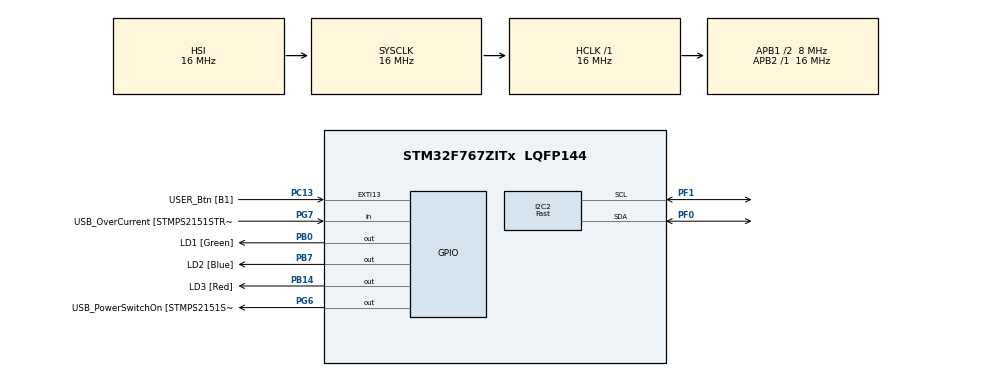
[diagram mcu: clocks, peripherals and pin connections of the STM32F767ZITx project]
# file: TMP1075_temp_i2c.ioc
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I2C2.I2C_Speed_Mode=I2C_Fast
I2C2.Timing=0x0000020B
Mcu.Family=STM32F7
Mcu.Name=STM32F767ZITx
Mcu.Package=LQFP144
NVIC.PriorityGroup=NVIC_PRIORITYGROUP_4
PA1.GPIO_Label=RMII_REF_CLK [LAN8742A-CZ-TR_REFCLK0]
PA1.Signal=ETH_REF_CLK
PA10.GPIO_Label=USB_ID
PA10.Signal=USB_OTG_FS_ID
PA11.GPIO_Label=USB_DM
PA11.Signal=USB_OTG_FS_DM
PA12.GPIO_Label=USB_DP
PA12.Signal=USB_OTG_FS_DP
PA13.GPIO_Label=TMS
PA13.Signal=SYS_JTMS-SWDIO
PA14.GPIO_Label=TCK
PA14.Signal=SYS_JTCK-SWCLK
PA2.GPIO_Label=RMII_MDIO [LAN8742A-CZ-TR_MDIO]
PA2.Signal=ETH_MDIO
PA7.GPIO_Label=RMII_CRS_DV [LAN8742A-CZ-TR_CRS_DV]
PA7.Signal=ETH_CRS_DV
PA8.GPIO_Label=USB_SOF [TP1]
PA8.Signal=USB_OTG_FS_SOF
PA9.GPIO_Label=USB_VBUS
PA9.Signal=USB_OTG_FS_VBUS
PB0.GPIO_Label=LD1 [Green]
PB0.Signal=GPIO_Output
PB13.GPIO_Label=RMII_TXD1 [LAN8742A-CZ-TR_TXD1]
PB13.Signal=ETH_TXD1
PB14.GPIO_Label=LD3 [Red]
PB14.Signal=GPIO_Output
PB3.GPIO_Label=SW0
PB3.Signal=SYS_JTDO-SWO
PB7.GPIO_Label=LD2 [Blue]
PB7.Signal=GPIO_Output
PC1.GPIO_Label=RMII_MDC [LAN8742A-CZ-TR_MDC]
PC1.Signal=ETH_MDC
PC13.GPIO_Label=USER_Btn [B1]
PC13.Signal=GPXTI13
PC14/OSC32_IN.Signal=RCC_OSC32_IN
PC15/OSC32_OUT.Signal=RCC_OSC32_OUT
PC4.GPIO_Label=RMII_RXD0 [LAN8742A-CZ-TR_RXD0]
PC4.Signal=ETH_RXD0
PC5.GPIO_Label=RMII_RXD1 [LAN8742A-CZ-TR_RXD1]
PC5.Signal=ETH_RXD1
PD8.GPIO_Label=STLK_RX [STM32F103CBT6_PA3]
PD8.Signal=USART3_TX
PD9.GPIO_Label=STLK_TX [STM32F103CBT6_PA2]
PD9.Signal=USART3_RX
PF0.Mode=I2C
PF0.Signal=I2C2_SDA
PF1.Mode=I2C
PF1.Signal=I2C2_SCL
PG11.GPIO_Label=RMII_TX_EN [LAN8742A-CZ-TR_TXEN]
PG11.Signal=ETH_TX_EN
PG13.GPIO_Label=RMII_TXD0 [LAN8742A-CZ-TR_TXD0]
PG13.Signal=ETH_TXD0
PG6.GPIO_Label=USB_PowerSwitchOn [STMPS2151STR_EN]
PG6.Signal=GPIO_Output
PG7.GPIO_Label=USB_OverCurrent [STMPS2151STR_FAULT]
PG7.Signal=GPIO_Input
PH0/OSC_IN.GPIO_Label=MCO [STM32F103CBT6_PA8]
PH0/OSC_IN.Signal=RCC_OSC_IN
PH1/OSC_OUT.Signal=RCC_OSC_OUT
ProjectManager.HeapSize=0x200
ProjectManager.StackSize=0x400
ProjectManager.TargetToolchain=STM32CubeIDE
RCC.48MHZClocksFreq_Value=24000000
RCC.AHBFreq_Value=16000000
RCC.APB1CLKDivider=RCC_HCLK_DIV2
RCC.APB1Freq_Value=8000000
RCC.APB1TimFreq_Value=16000000
RCC.APB2Freq_Value=16000000
RCC.APB2TimFreq_Value=16000000
RCC.CortexFreq_Value=16000000
RCC.HCLKFreq_Value=16000000
RCC.HSE_VALUE=16000000
RCC.HSI_VALUE=16000000
RCC.LSE_VALUE=32768
RCC.PLLMUL=RCC_PLL_MUL9
RCC.PRESCALERUSB=RCC_USBCLKSOURCE_PLL_DIV1_5
RCC.SYSCLKFreq_VALUE=16000000
RCC.SYSCLKSourceVirtual=RCC_SYSCLKSOURCE_PLLCLK
RCC.USBFreq_Value=96000000
RCC.VCOOutputFreq_Value=192000000
board=NUCLEO-F767ZI

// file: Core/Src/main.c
/* USER CODE BEGIN Header */
/**
 ******************************************************************************
 * @file           : main.c
 * @brief          : Main program body
 ******************************************************************************
 * @attention
 *
 * Copyright (c) 2025 STMicroelectronics.
 * All rights reserved.
 *
 * This software is licensed under terms that can be found in the LICENSE file
 * in the root directory of this software component.
 * If no LICENSE file comes with this software, it is provided AS-IS.
 *
 ******************************************************************************
 */
/* USER CODE END Header */
#include "main.h"

I2C_HandleTypeDef hi2c2;

void SystemClock_Config(void);
static void MX_GPIO_Init(void);
static void MX_I2C2_Init(void);

/* USER CODE BEGIN 0 */
float read_temp() {
	uint8_t read_data[2] = { 0 };
	//uint8_t read_data[2] = {0b01010000, 0b00000000}; // 80
	//uint8_t read_data[2] = {0b00000000, 0b01000000}; // .25
	//uint8_t read_data[2] = {0b11111111, 0b11110000}; // -.0625
	//uint8_t read_data[2] = {0b11001110, 0b00000000}; // -50

	float temp_celsius = 0;
	// 7.5.1.1 read temperature register (address 0)
	HAL_I2C_Mem_Read(&hi2c2, (72 << 1), 0, 1, read_data, 2, 1000);

	// last 4 bits (of last byte) are not used- disregard these and put first byte before it.
	uint32_t read_binary = read_data[1] >> 4 | read_data[0] << 4;
	// test if negative by reading MSB
	if (1 << 11 & read_binary) {
		//if negative, get two's complement
		temp_celsius = -((~((int32_t) read_binary - 1)) & 4095) * .0625;

	} else {
		//if positive, process normally
		temp_celsius = read_binary * .0625;

	}
	return temp_celsius;
}

void set_shutdown_mode() {
	// table 7-8
	uint8_t conf_register[2] = { 0 };
	// read current config register
	HAL_I2C_Mem_Read(&hi2c2, (72 << 1), 1, 1, conf_register, 2, 100);
	// write 1 to bit 0 of first register byte (bit 8 of the conf register)
	conf_register[0] |= (1);
	// write modified config to register
	HAL_I2C_Mem_Write(&hi2c2, (72 << 1), 1, 1, conf_register, 2, 100);
	// test to see if write was successful
	uint8_t read_test[2] = { 0 };
	HAL_I2C_Mem_Read(&hi2c2, (72 << 1), 1, 1, read_test, 2, 100);
}

void trigger_oneshot() {
	// table 7-8
	uint8_t conf_register[2] = { 0 };
	// read current config register
	HAL_I2C_Mem_Read(&hi2c2, (72 << 1), 1, 1, conf_register, 2, 100);
	// write 1 to bit 7 of first register byte (bit 15 of the config register)
	conf_register[0] |= (1 << 7);
	// write to config register
	HAL_I2C_Mem_Write(&hi2c2, (72 << 1), 1, 1, conf_register, 2, 100);

}
/* USER CODE END 0 */

int main(void) {

	/* MCU Configuration--------------------------------------------------------*/

	/* Reset of all peripherals, Initializes the Flash interface and the Systick. */
	HAL_Init();

	/* Configure the system clock */
	SystemClock_Config();

	/* Initialize all configured peripherals */
	MX_GPIO_Init();
	MX_I2C2_Init();
	/* USER CODE BEGIN 2 */
	//put in shutdown mode to reduce current by not continuously converting temperature
	set_shutdown_mode();

	/* USER CODE END 2 */

	/* Infinite loop */
	/* USER CODE BEGIN WHILE */

	while (1) {
		// while in shutdown mode, trigger one conversion
		trigger_oneshot();
		float temp_celsius = read_temp();
		HAL_Delay(500);

		/* USER CODE END WHILE */

	}
}

void SystemClock_Config(void) {
	RCC_OscInitTypeDef RCC_OscInitStruct = { 0 };
	RCC_ClkInitTypeDef RCC_ClkInitStruct = { 0 };

	/** Configure the main internal regulator output voltage
	 */
	__HAL_RCC_PWR_CLK_ENABLE();
	__HAL_PWR_VOLTAGESCALING_CONFIG(PWR_REGULATOR_VOLTAGE_SCALE3);

	/** Initializes the RCC Oscillators according to the specified parameters
	 * in the RCC_OscInitTypeDef structure.
	 */
	RCC_OscInitStruct.OscillatorType = RCC_OSCILLATORTYPE_HSI;
	RCC_OscInitStruct.HSIState = RCC_HSI_ON;
	RCC_OscInitStruct.HSICalibrationValue = RCC_HSICALIBRATION_DEFAULT;
	RCC_OscInitStruct.PLL.PLLState = RCC_PLL_NONE;
	if (HAL_RCC_OscConfig(&RCC_OscInitStruct) != HAL_OK) {
		Error_Handler();
	}

	/** Initializes the CPU, AHB and APB buses clocks
	 */
	RCC_ClkInitStruct.ClockType = RCC_CLOCKTYPE_HCLK | RCC_CLOCKTYPE_SYSCLK
			| RCC_CLOCKTYPE_PCLK1 | RCC_CLOCKTYPE_PCLK2;
	RCC_ClkInitStruct.SYSCLKSource = RCC_SYSCLKSOURCE_HSI;
	RCC_ClkInitStruct.AHBCLKDivider = RCC_SYSCLK_DIV1;
	RCC_ClkInitStruct.APB1CLKDivider = RCC_HCLK_DIV2;
	RCC_ClkInitStruct.APB2CLKDivider = RCC_HCLK_DIV1;

	if (HAL_RCC_ClockConfig(&RCC_ClkInitStruct, FLASH_LATENCY_0) != HAL_OK) {
		Error_Handler();
	}
}

static void MX_I2C2_Init(void) {

	hi2c2.Instance = I2C2;
	hi2c2.Init.Timing = 0x0000020B;
	hi2c2.Init.OwnAddress1 = 0;
	hi2c2.Init.AddressingMode = I2C_ADDRESSINGMODE_7BIT;
	hi2c2.Init.DualAddressMode = I2C_DUALADDRESS_DISABLE;
	hi2c2.Init.OwnAddress2 = 0;
	hi2c2.Init.OwnAddress2Masks = I2C_OA2_NOMASK;
	hi2c2.Init.GeneralCallMode = I2C_GENERALCALL_DISABLE;
	hi2c2.Init.NoStretchMode = I2C_NOSTRETCH_DISABLE;
	if (HAL_I2C_Init(&hi2c2) != HAL_OK) {
		Error_Handler();
	}

	/** Configure Analogue filter
	 */
	if (HAL_I2CEx_ConfigAnalogFilter(&hi2c2, I2C_ANALOGFILTER_ENABLE)
			!= HAL_OK) {
		Error_Handler();
	}

	/** Configure Digital filter
	 */
	if (HAL_I2CEx_ConfigDigitalFilter(&hi2c2, 0) != HAL_OK) {
		Error_Handler();
	}

}

static void MX_GPIO_Init(void) {
	GPIO_InitTypeDef GPIO_InitStruct = { 0 };

	/* GPIO Ports Clock Enable */
	__HAL_RCC_GPIOC_CLK_ENABLE();
	__HAL_RCC_GPIOF_CLK_ENABLE();
	__HAL_RCC_GPIOH_CLK_ENABLE();
	__HAL_RCC_GPIOA_CLK_ENABLE();
	__HAL_RCC_GPIOB_CLK_ENABLE();
	__HAL_RCC_GPIOD_CLK_ENABLE();
	__HAL_RCC_GPIOG_CLK_ENABLE();

	/*Configure GPIO pin Output Level */
	HAL_GPIO_WritePin(GPIOB, LD1_Pin | LD3_Pin | LD2_Pin, GPIO_PIN_RESET);

	/*Configure GPIO pin Output Level */
	HAL_GPIO_WritePin(USB_PowerSwitchOn_GPIO_Port, USB_PowerSwitchOn_Pin,
			GPIO_PIN_RESET);

	/*Configure GPIO pin : USER_Btn_Pin */
	GPIO_InitStruct.Pin = USER_Btn_Pin;
	GPIO_InitStruct.Mode = GPIO_MODE_IT_RISING;
	GPIO_InitStruct.Pull = GPIO_NOPULL;
	HAL_GPIO_Init(USER_Btn_GPIO_Port, &GPIO_InitStruct);

	/*Configure GPIO pins : RMII_MDC_Pin RMII_RXD0_Pin RMII_RXD1_Pin */
	GPIO_InitStruct.Pin = RMII_MDC_Pin | RMII_RXD0_Pin | RMII_RXD1_Pin;
	GPIO_InitStruct.Mode = GPIO_MODE_AF_PP;
	GPIO_InitStruct.Pull = GPIO_NOPULL;
	GPIO_InitStruct.Speed = GPIO_SPEED_FREQ_VERY_HIGH;
	GPIO_InitStruct.Alternate = GPIO_AF11_ETH;
	HAL_GPIO_Init(GPIOC, &GPIO_InitStruct);

	/*Configure GPIO pins : RMII_REF_CLK_Pin RMII_MDIO_Pin RMII_CRS_DV_Pin */
	GPIO_InitStruct.Pin = RMII_REF_CLK_Pin | RMII_MDIO_Pin | RMII_CRS_DV_Pin;
	GPIO_InitStruct.Mode = GPIO_MODE_AF_PP;
	GPIO_InitStruct.Pull = GPIO_NOPULL;
	GPIO_InitStruct.Speed = GPIO_SPEED_FREQ_VERY_HIGH;
	GPIO_InitStruct.Alternate = GPIO_AF11_ETH;
	HAL_GPIO_Init(GPIOA, &GPIO_InitStruct);

	/*Configure GPIO pins : LD1_Pin LD3_Pin LD2_Pin */
	GPIO_InitStruct.Pin = LD1_Pin | LD3_Pin | LD2_Pin;
	GPIO_InitStruct.Mode = GPIO_MODE_OUTPUT_PP;
	GPIO_InitStruct.Pull = GPIO_NOPULL;
	GPIO_InitStruct.Speed = GPIO_SPEED_FREQ_LOW;
	HAL_GPIO_Init(GPIOB, &GPIO_InitStruct);

	/*Configure GPIO pin : RMII_TXD1_Pin */
	GPIO_InitStruct.Pin = RMII_TXD1_Pin;
	GPIO_InitStruct.Mode = GPIO_MODE_AF_PP;
	GPIO_InitStruct.Pull = GPIO_NOPULL;
	GPIO_InitStruct.Speed = GPIO_SPEED_FREQ_VERY_HIGH;
	GPIO_InitStruct.Alternate = GPIO_AF11_ETH;
	HAL_GPIO_Init(RMII_TXD1_GPIO_Port, &GPIO_InitStruct);

	/*Configure GPIO pins : STLK_RX_Pin STLK_TX_Pin */
	GPIO_InitStruct.Pin = STLK_RX_Pin | STLK_TX_Pin;
	GPIO_InitStruct.Mode = GPIO_MODE_AF_PP;
	GPIO_InitStruct.Pull = GPIO_NOPULL;
	GPIO_InitStruct.Speed = GPIO_SPEED_FREQ_VERY_HIGH;
	GPIO_InitStruct.Alternate = GPIO_AF7_USART3;
	HAL_GPIO_Init(GPIOD, &GPIO_InitStruct);

	/*Configure GPIO pin : USB_PowerSwitchOn_Pin */
	GPIO_InitStruct.Pin = USB_PowerSwitchOn_Pin;
	GPIO_InitStruct.Mode = GPIO_MODE_OUTPUT_PP;
	GPIO_InitStruct.Pull = GPIO_NOPULL;
	GPIO_InitStruct.Speed = GPIO_SPEED_FREQ_LOW;
	HAL_GPIO_Init(USB_PowerSwitchOn_GPIO_Port, &GPIO_InitStruct);

	/*Configure GPIO pin : USB_OverCurrent_Pin */
	GPIO_InitStruct.Pin = USB_OverCurrent_Pin;
	GPIO_InitStruct.Mode = GPIO_MODE_INPUT;
	GPIO_InitStruct.Pull = GPIO_NOPULL;
	HAL_GPIO_Init(USB_OverCurrent_GPIO_Port, &GPIO_InitStruct);

	/*Configure GPIO pins : USB_SOF_Pin USB_ID_Pin USB_DM_Pin USB_DP_Pin */
	GPIO_InitStruct.Pin = USB_SOF_Pin | USB_ID_Pin | USB_DM_Pin | USB_DP_Pin;
	GPIO_InitStruct.Mode = GPIO_MODE_AF_PP;
	GPIO_InitStruct.Pull = GPIO_NOPULL;
	GPIO_InitStruct.Speed = GPIO_SPEED_FREQ_VERY_HIGH;
	GPIO_InitStruct.Alternate = GPIO_AF10_OTG_FS;
	HAL_GPIO_Init(GPIOA, &GPIO_InitStruct);

	/*Configure GPIO pin : USB_VBUS_Pin */
	GPIO_InitStruct.Pin = USB_VBUS_Pin;
	GPIO_InitStruct.Mode = GPIO_MODE_INPUT;
	GPIO_InitStruct.Pull = GPIO_NOPULL;
	HAL_GPIO_Init(USB_VBUS_GPIO_Port, &GPIO_InitStruct);

	/*Configure GPIO pins : RMII_TX_EN_Pin RMII_TXD0_Pin */
	GPIO_InitStruct.Pin = RMII_TX_EN_Pin | RMII_TXD0_Pin;
	GPIO_InitStruct.Mode = GPIO_MODE_AF_PP;
	GPIO_InitStruct.Pull = GPIO_NOPULL;
	GPIO_InitStruct.Speed = GPIO_SPEED_FREQ_VERY_HIGH;
	GPIO_InitStruct.Alternate = GPIO_AF11_ETH;
	HAL_GPIO_Init(GPIOG, &GPIO_InitStruct);

}

void Error_Handler(void) {
	__disable_irq();
	while (1) {
	}
}
